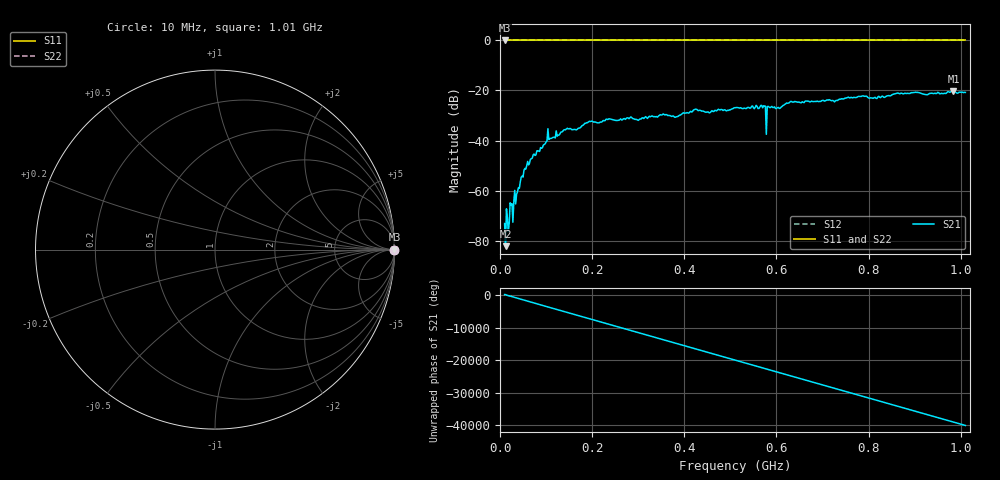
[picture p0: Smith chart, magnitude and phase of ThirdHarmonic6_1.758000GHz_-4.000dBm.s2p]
! 8/16/2025 9:12:53 PM
! C:\ANRITSUVNA\TEMP\TEMP.S2P
! CHANNEL.1
! TR.MEASUREMENT
! RAW.DATA
! RF.CORRECTION.OFF
! AVERAGING.OFF
! IF.BANDWIDTH: 5KHZ
! SWEEPTYPE:  FREQ.SWEEP(Linear)
! Reference Plane Port Info
! PORT:  PORT1  PORT2
! DISTANCE:  0  m  0  m
! TIME:  0  s  0  s
! PHASE.OFFSET:  0  deg.  0  deg.
! LOSS:  0  dB  0  dB
! REF.LOSS:  0  dB  0  dB
! REF.FREQ:  0  Hz  0  Hz
! Power Info
! POWER:  -20  dBm  -20  dBm
! EFF.POWER:  -20  dBm  -20  dBm
! SOURCE.ATTEN:  0  dB  0  dB
! TEST.ATTEN:  0  dB  0  dB
# GHZ S RI R 50.0
! FREQ.GHZ  S11RE  S11IM  S21RE  S21IM  S12RE  S12IM  S22RE  S22IM
!; PortSelection: Port_12
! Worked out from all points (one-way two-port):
!   501 points, 10 MHz to 1.01 GHz, reference 50 ohm
!   highest |S21| = -20.25 dB at 984 MHz (marker M1); lowest = -82.2 dB at 12 MHz (marker M2)
!   lowest |S11| = 0.0 dB at 10 MHz (marker M3)
!   |S11| at or under -10 dB: nowhere
!   |S22| runs from 0.0 to 0.0 dB; largest |S21 - S12| = 1.1
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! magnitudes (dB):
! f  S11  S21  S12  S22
! 10 MHz  0.0  -73.2  0.0  0.0
! 12 MHz  0.0  -82.2  0.0  0.0
! 16 MHz  0.0  -70.9  0.0  0.0
! 18 MHz  0.0  -76.4  0.0  0.0
! 32 MHz  0.0  -59.9  0.0  0.0
! 34 MHz  0.0  -65.4  0.0  0.0
! 50 MHz  0.0  -54.6  0.0  0.0
! 70 MHz  0.0  -47.1  0.0  0.0
! 106 MHz  0.0  -39.6  0.0  0.0
! 178 MHz  0.0  -34.1  0.0  0.0
! 234 MHz  0.0  -31.6  0.0  0.0
! 344 MHz  0.0  -30.2  0.0  0.0
! 510 MHz  0.0  -26.9  0.0  0.0
! 570 MHz  0.0  -26.9  0.0  0.0
! 572 MHz  0.0  -26.1  0.0  0.0
! 574 MHz  0.0  -26.2  0.0  0.0
! 582 MHz  0.0  -26.3  0.0  0.0
! 584 MHz  0.0  -26.6  0.0  0.0
! 678 MHz  0.0  -24.4  0.0  0.0
! 844 MHz  0.0  -22.0  0.0  0.0
! 984 MHz  0.0  -20.3  0.0  0.0
! 1.01 GHz  0.0  -20.8  0.0  0.0
